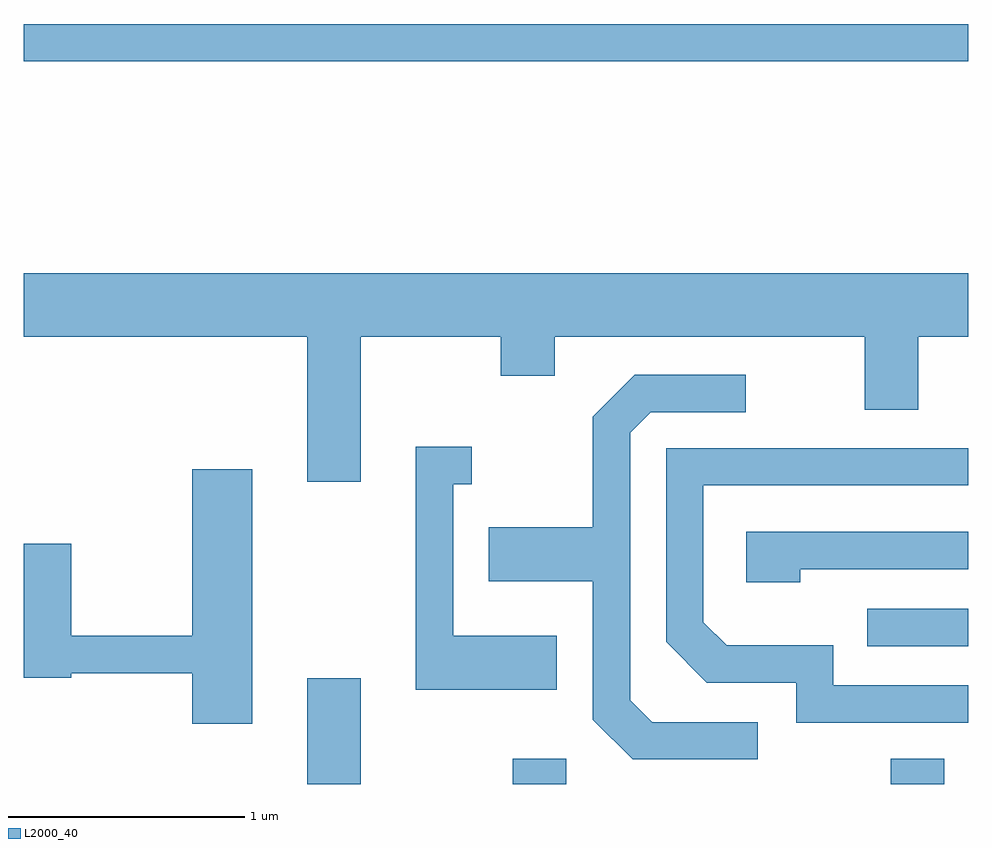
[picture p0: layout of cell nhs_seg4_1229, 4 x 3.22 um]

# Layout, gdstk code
import gdstk
lib = gdstk.Library(unit=1e-6, precision=1e-09)
def R(c, l, rs):  # rectangles x0, y0, x1, y1
    for r in rs: c.add(gdstk.rectangle(r[:2], r[2:], *l))
def P(c, l, *ps):  # polygons
    for p in ps: c.add(gdstk.Polygon(p, *l))
L2000_40 = (2000, 40)

nhs_seg4_1229 = lib.new_cell('nhs_seg4_1229')
R(nhs_seg4_1229, L2000_40, [(222.811,1263.982,223.039,1264.429), (223.681,1263.982,223.909,1264.089), (225.281,1263.982,225.509,1264.089), (225.183,1264.566,225.611,1264.724), (221.611,1267.041,225.611,1267.199)])
P(nhs_seg4_1229, L2000_40, [(223.039,1265.876),(223.631,1265.876),(223.631,1265.711),(223.859,1265.711),(223.859,1265.876),(225.171,1265.876),(225.171,1265.566),(225.399,1265.566),(225.399,1265.876),(225.611,1265.876),(225.611,1266.144),(221.611,1266.144),(221.611,1265.876),(222.811,1265.876),(222.811,1265.261),(223.039,1265.261)],
  [(224.718,1264.244),(224.272,1264.244),(224.179,1264.337),(224.179,1265.469),(224.267,1265.556),(224.668,1265.556),(224.668,1265.714),(224.199,1265.714),(224.021,1265.537),(224.021,1265.069),(223.581,1265.069),(223.581,1264.841),(224.021,1264.841),(224.021,1264.254),(224.189,1264.086),(224.718,1264.086)],
  [(223.869,1264.609),(223.429,1264.609),(223.429,1265.251),(223.508,1265.251),(223.508,1265.409),(223.271,1265.409),(223.271,1264.381),(223.869,1264.381)],
  [(225.611,1264.399),(225.039,1264.399),(225.039,1264.569),(224.587,1264.569),(224.489,1264.667),(224.489,1265.246),(225.611,1265.246),(225.611,1265.404),(224.331,1265.404),(224.331,1264.584),(224.504,1264.411),(224.881,1264.411),(224.881,1264.241),(225.611,1264.241)],
  [(222.579,1265.314),(222.326,1265.314),(222.326,1264.609),(221.814,1264.609),(221.814,1264.999),(221.611,1264.999),(221.611,1264.431),(221.814,1264.431),(221.814,1264.451),(222.326,1264.451),(222.326,1264.236),(222.579,1264.236)],
  [(224.899,1264.891),(225.611,1264.891),(225.611,1265.049),(224.671,1265.049),(224.671,1264.836),(224.899,1264.836)])

lib.write_gds('nhs_seg4_1229.gds')
